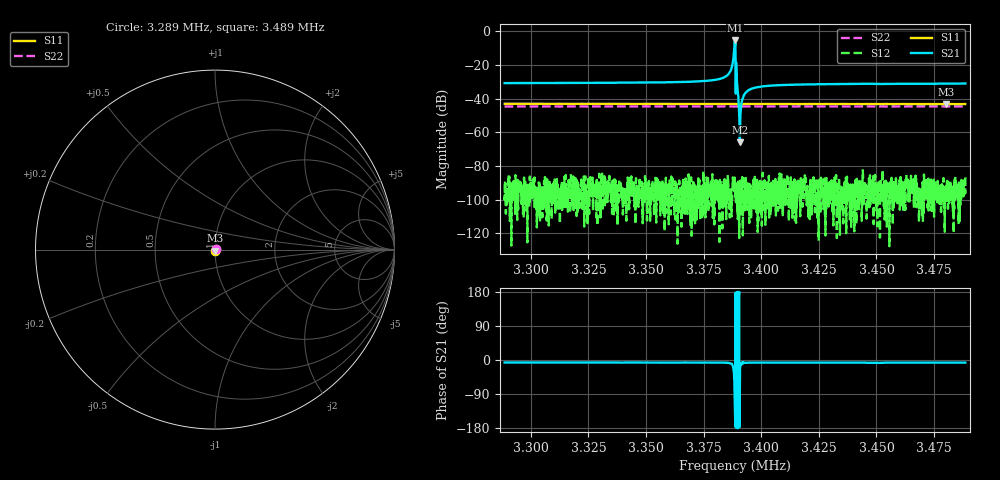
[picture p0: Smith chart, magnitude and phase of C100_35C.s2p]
# Hz S dB R 50.000
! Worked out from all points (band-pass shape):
!   6401 points, 3.289 MHz to 3.489 MHz, reference 50 ohm
!   highest |S21| = -5.33 dB at 3.389 MHz (marker M1); lowest = -65.8 dB at 3.391 MHz (marker M2)
!   |S21| within 3 dB of the highest: 3.388371 MHz to 3.388763 MHz (392.2 Hz wide, 0.0116 % of centre)
!   lowest |S11| = -43.2 dB at 3.48 MHz (marker M3), VSWR 1.01, Z = 49.9 - j0.682 ohm
!   |S11| at or under -10 dB: start of sweep to end of sweep
!   |S22| runs from -44.7 to -44.4 dB; largest |S21 - S12| = 0.54
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3288594  -42.90 -98.4  -30.69 -6.5  -96.98 135.4  -44.58 12.5
3321938  -42.97 -98.7  -30.56 -6.6  -90.44 36.4  -44.56 12.4
3355282  -43.03 -98.8  -30.26 -6.7  -98.31 18.0  -44.54 12.6
3382032  -43.10 -99.1  -28.14 -7.1  -88.20 59.9  -44.54 13.0
3386063  -43.04 -98.9  -24.76 -7.9  -99.94 22.3  -44.51 13.5
3387000  -43.06 -98.9  -22.25 -10.0  -98.18 129.8  -44.53 13.1
3387469  -43.09 -98.7  -19.71 -12.9  -95.42 -36.3  -44.53 13.1
3387844  -43.10 -98.5  -16.80 -18.8  -92.32 69.0  -44.52 13.1
3388594  -43.06 -98.7  -5.33 -124.5  -94.60 5.7  -44.62 14.7
3389282  -43.06 -98.6  -26.46 -165.5  -91.79 29.7  -44.53 13.5
3389875  -43.06 -98.6  -37.45 179.9  -100.14 -168.2  -44.54 13.5
3390313  -43.07 -98.8  -45.94 172.8  -100.69 46.2  -44.56 13.6
3390688  -43.10 -98.8  -65.81 -88.2  -95.03 92.0  -44.51 13.7
3391344  -43.11 -98.7  -43.67 -10.2  -92.34 43.6  -44.53 13.5
3392032  -43.09 -98.7  -39.42 -6.7  -106.56 29.9  -44.51 13.7
3392969  -43.09 -98.6  -36.78 -7.3  -91.95 -133.1  -44.50 13.5
3396156  -43.11 -98.7  -33.88 -6.9  -97.46 80.5  -44.52 13.6
3404156  -43.11 -98.7  -32.18 -6.8  -104.49 102.0  -44.56 13.6
3421938  -43.14 -98.6  -31.42 -6.8  -106.47 -96.8  -44.55 13.5
3455282  -43.11 -98.4  -31.15 -7.0  -94.28 -125.3  -44.54 13.3
3480313  -43.21 -98.6  -31.01 -6.6  -90.30 -12.4  -44.55 13.9
3488594  -43.17 -98.6  -30.93 -7.0  -86.72 -85.4  -44.53 14.0
